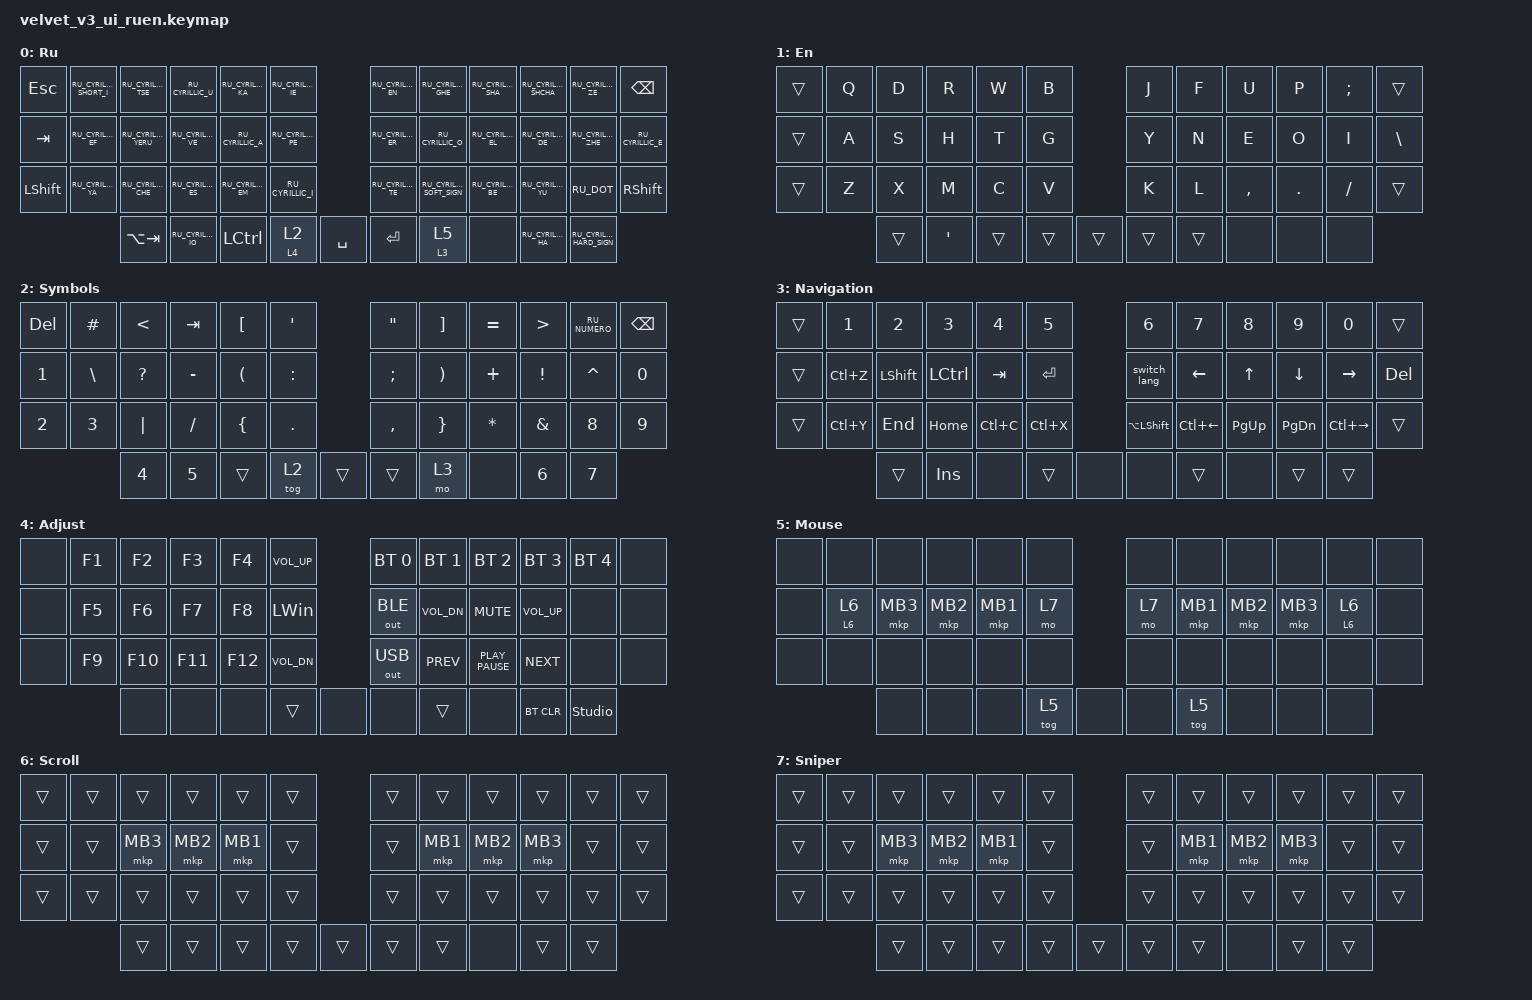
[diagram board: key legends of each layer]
#include "keys_ru.h"
#include <dt-bindings/zmk/input_transform.h>
#include <input/processors.dtsi>
#include <zephyr/dt-bindings/input/input-event-codes.h>
#include <behaviors.dtsi>
#include <dt-bindings/zmk/bt.h>
#include <dt-bindings/zmk/keys.h>
#include <dt-bindings/zmk/outputs.h>
#include <dt-bindings/zmk/pointing.h>

/ {
    behaviors {
        cap_sen: cap_sen {
            compatible = "zmk,behavior-hold-tap";
            label = "CAP_SEN";
            bindings = <&mo>, <&mkp>;

            #binding-cells = <2>;
            tapping-term-ms = <150>;
            hold-while-undecided;
        };

        mouse_layer: mouse_layer {
            compatible = "zmk,behavior-sticky-key";
            label = "MOUSE_LAYER";
            bindings = <&mo>;
            #binding-cells = <1>;
            release-after-ms = <200>;
        };

        htlayer: htlayer {
            compatible = "zmk,behavior-hold-tap";
            label = "HTLAYER";
            bindings = <&mo>, <&tog>;

            #binding-cells = <2>;
            tapping-term-ms = <200>;
            hold-while-undecided;
        };

        zip_auto_mouse: zip_auto_mouse {
            compatible = "zmk,input-processor-temp-layer";
            #input-processor-cells = <2>;
            require-prior-idle-ms = <800>;
            excluded-positions = <>;
        };
    };

    combos {
        compatible = "zmk,combos";

        SymbolsRu {
            bindings = <&SwitchLangAndLayer>;
            key-positions = <39>;
            layers = <0>;
        };
    };

    macros {
        switch_lang: switch_lang {
            compatible = "zmk,behavior-macro";
            #binding-cells = <0>;
            bindings = <&kp LA(LSHIFT) &tog 1 &tog 0>;
            label = "SWITCH_LANG";
        };

        SwitchLangAndLayer: SwitchLangAndLayer {
            compatible = "zmk,behavior-macro";
            #binding-cells = <0>;
            bindings = <&kp LA(LEFT_SHIFT) &tog 2>;
            label = "SWITCHLANGANDLAYER";
        };
    };

    keymap {
        compatible = "zmk,keymap";

        ru {
            display-name = "Ru";
            bindings = <
&kp ESC    &kp RU_CYRILLIC_SHORT_I  &kp RU_CYRILLIC_TSE   &kp RU_CYRILLIC_U   &kp RU_CYRILLIC_KA  &kp RU_CYRILLIC_IE                          &kp RU_CYRILLIC_EN  &kp RU_CYRILLIC_GHE        &kp RU_CYRILLIC_SHA  &kp RU_CYRILLIC_SHCHA      &kp RU_CYRILLIC_ZE   &kp BSPC
&kp TAB    &kp RU_CYRILLIC_EF       &kp RU_CYRILLIC_YERU  &kp RU_CYRILLIC_VE  &kp RU_CYRILLIC_A   &kp RU_CYRILLIC_PE                          &kp RU_CYRILLIC_ER  &kp RU_CYRILLIC_O          &kp RU_CYRILLIC_EL   &kp RU_CYRILLIC_DE         &kp RU_CYRILLIC_ZHE  &kp RU_CYRILLIC_E
&kp LSHFT  &kp RU_CYRILLIC_YA       &kp RU_CYRILLIC_CHE   &kp RU_CYRILLIC_ES  &kp RU_CYRILLIC_EM  &kp RU_CYRILLIC_I                           &kp RU_CYRILLIC_TE  &kp RU_CYRILLIC_SOFT_SIGN  &kp RU_CYRILLIC_BE   &kp RU_CYRILLIC_YU         &kp RU_DOT           &kp RSHFT
                                    &kp LA(TAB)           &kp RU_CYRILLIC_IO  &kp LCTRL           &htlayer 4 2        &kp SPACE    &kp ENTER  &htlayer 3 5        &none                      &kp RU_CYRILLIC_HA   &kp RU_CYRILLIC_HARD_SIGN
            >;
        };

        en {
            bindings = <
&trans  &kp Q  &kp D   &kp R     &kp W   &kp B                     &kp J   &kp F  &kp U      &kp P    &kp SEMI   &trans
&trans  &kp A  &kp S   &kp H     &kp T   &kp G                     &kp Y   &kp N  &kp E      &kp O    &kp I      &kp BSLH
&trans  &kp Z  &kp X   &kp M     &kp C   &kp V                     &kp K   &kp L  &kp COMMA  &kp DOT  &kp SLASH  &trans
               &trans  &kp APOS  &trans  &trans  &trans    &trans  &trans  &none  &none      &none
            >;

            display-name = "En";
        };

        symbols {
            display-name = "Symbols";
            bindings = <
&kp DELETE    &kp HASH      &kp LT        &kp TAB       &kp LEFT_BRACKET      &kp SINGLE_QUOTE                    &kp DOUBLE_QUOTES  &kp RIGHT_BRACKET      &kp EQUAL     &kp GREATER_THAN  &kp RU_NUMERO  &kp BACKSPACE
&kp NUMBER_1  &kp BSLH      &kp QUESTION  &kp MINUS     &kp LEFT_PARENTHESIS  &kp COLON                           &kp SEMICOLON      &kp RIGHT_PARENTHESIS  &kp PLUS      &kp EXCLAMATION   &kp CARET      &kp NUMBER_0
&kp NUMBER_2  &kp NUMBER_3  &kp PIPE      &kp SLASH     &kp LEFT_BRACE        &kp DOT                             &kp COMMA          &kp RIGHT_BRACE        &kp ASTERISK  &kp AMPS          &kp NUMBER_8   &kp NUMBER_9
                            &kp NUMBER_4  &kp NUMBER_5  &trans                &tog 2            &trans    &trans  &mo 3              &none                  &kp NUMBER_6  &kp NUMBER_7
            >;
        };

        nav {
            bindings = <
&trans  &kp N1     &kp N2      &kp N3     &kp N4     &kp N5                     &kp N6              &kp N7        &kp N8       &kp N9         &kp N0         &trans
&trans  &kp LC(Z)  &kp LSHIFT  &kp LCTRL  &kp TAB    &kp RET                    &switch_lang        &kp LEFT      &kp UP       &kp DOWN       &kp RIGHT      &kp DEL
&trans  &kp LC(Y)  &kp END     &kp HOME   &kp LC(C)  &kp LC(X)                  &kp LA(LEFT_SHIFT)  &kp LC(LEFT)  &kp PAGE_UP  &kp PAGE_DOWN  &kp LC(RIGHT)  &trans
                   &trans      &kp INS    &none      &trans     &none    &none  &trans              &none         &trans       &trans
            >;

            display-name = "Navigation";
        };

        adj {
            bindings = <
&none  &kp F1  &kp F2   &kp F3   &kp F4   &kp C_VOL_UP                  &bt BT_SEL 0  &bt BT_SEL 1  &bt BT_SEL 2      &bt BT_SEL 3    &bt BT_SEL 4  &none
&none  &kp F5  &kp F6   &kp F7   &kp F8   &kp LWIN                      &out OUT_BLE  &kp C_VOL_DN  &kp K_MUTE        &kp C_VOL_UP    &none         &none
&none  &kp F9  &kp F10  &kp F11  &kp F12  &kp C_VOL_DN                  &out OUT_USB  &kp K_PREV    &kp K_PLAY_PAUSE  &kp K_NEXT      &none         &none
               &none    &none    &none    &trans        &none    &none  &trans        &none         &bt BT_CLR        &studio_unlock
            >;

            display-name = "Adjust";
        };

        mouse {
            bindings = <
&none  &none         &none     &none     &none     &none                   &none   &none     &none     &none     &none         &none
&none  &htlayer 6 6  &mkp MB3  &mkp MB2  &mkp MB1  &mo 7                   &mo 7   &mkp MB1  &mkp MB2  &mkp MB3  &htlayer 6 6  &none
&none  &none         &none     &none     &none     &none                   &none   &none     &none     &none     &none         &none
                     &none     &none     &none     &tog 5  &none    &none  &tog 5  &none     &none     &none
            >;

            display-name = "Mouse";
        };

        scroll {
            bindings = <
&trans  &trans  &trans    &trans    &trans    &trans                    &trans  &trans    &trans    &trans    &trans  &trans
&trans  &trans  &mkp MB3  &mkp MB2  &mkp MB1  &trans                    &trans  &mkp MB1  &mkp MB2  &mkp MB3  &trans  &trans
&trans  &trans  &trans    &trans    &trans    &trans                    &trans  &trans    &trans    &trans    &trans  &trans
                &trans    &trans    &trans    &trans  &trans    &trans  &trans  &none     &trans    &trans
            >;

            display-name = "Scroll";
        };

        sniper {
            bindings = <
&trans  &trans  &trans    &trans    &trans    &trans                    &trans  &trans    &trans    &trans    &trans  &trans
&trans  &trans  &mkp MB3  &mkp MB2  &mkp MB1  &trans                    &trans  &mkp MB1  &mkp MB2  &mkp MB3  &trans  &trans
&trans  &trans  &trans    &trans    &trans    &trans                    &trans  &trans    &trans    &trans    &trans  &trans
                &trans    &trans    &trans    &trans  &trans    &trans  &trans  &none     &trans    &trans
            >;

            display-name = "Sniper";
        };
    };
};

&trackball { cpi = <1000>; };

&trackball_listener {
    input-processors = <&zip_xy_scaler 9 20>;

    scroller {
        layers = <6>;
        input-processors =
            <&zip_xy_transform INPUT_TRANSFORM_Y_INVERT>,
            <&zip_xy_scaler 1 64>,
            <&zip_xy_to_scroll_mapper>;
    };

    sniper {
        layers = <7>;
        input-processors = <&zip_xy_scaler 1 8>;
    };
};
